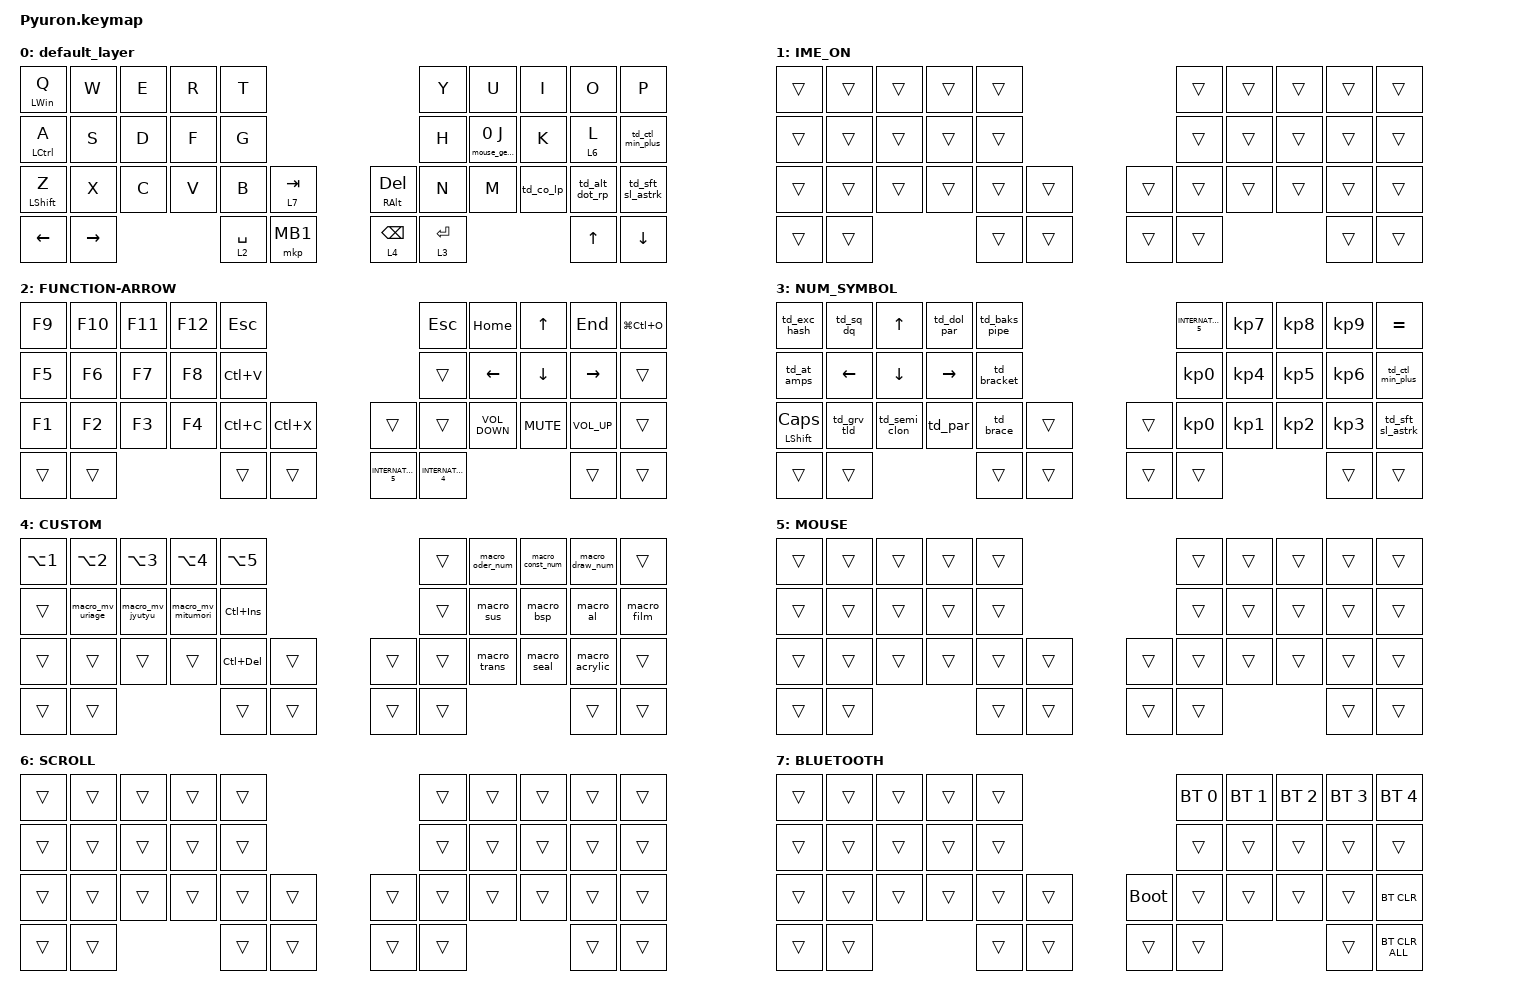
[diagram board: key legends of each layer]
#include <mouse-gesture.dtsi>
#include <behaviors.dtsi>
#include <dt-bindings/zmk/bt.h>
#include <dt-bindings/zmk/keys.h>
#include <dt-bindings/zmk/pointing.h>

#define MOUSE 6

/* mouse-gesture の挙動を補完する設定 */

&mouse_gesture_kp {
    tapping-term-ms = <300>;
    quick-tap-ms = <175>;
    flavor = "tap-preferred";
};

&mt {
    flavor = "balanced";
    quick-tap-ms = <0>;
};

/ {
    combos {
        compatible = "zmk,combos";

        combo_mb1 {
            bindings = <&mkp MB1>;
            key-positions = <16 17>;
        };

        combo_mb2 {
            bindings = <&mkp MB2>;
            key-positions = <17 18>;
        };

        combo_tab {
            bindings = <&kp TAB>;
            key-positions = <13 12>;
        };
    };

    macros {
        to_layer_0: to_layer_0 {
            compatible = "zmk,behavior-macro-one-param";
            #binding-cells = <1>;
            bindings = <&to 0 &macro_param_1to1 &kp MACRO_PLACEHOLDER>;
            label = "TO_LAYER_0";
        };

        alt_grave: alt_grave {
            compatible = "zmk,behavior-macro";
            #binding-cells = <0>;
            wait-ms = <30>;
            tap-ms = <30>;
            bindings =
                <&macro_press>,
                <&kp LALT>,
                <&macro_tap>,
                <&kp GRAVE>,
                <&macro_release>,
                <&kp LALT>;
        };

        // 全角：変換キー + IMEレイヤーへ

        ime_zen: ime_zen {
            compatible = "zmk,behavior-macro";
            #binding-cells = <0>;
            bindings = <&kp INT4 &to 1>;
        };

        // 半角：無変換キー + デフォルトレイヤーへ

        ime_han: ime_han {
            compatible = "zmk,behavior-macro";
            #binding-cells = <0>;
            bindings = <&kp INT5 &to 0>;
        };

        macro_sus: macro_sus {
            compatible = "zmk,behavior-macro";
            #binding-cells = <0>;
            bindings = <&kp INT5 &kp N0 &kp N1 &kp F &kp U &kp N0 &kp N0 &kp N1>;
            label = "MACRO_SUS";
        };

        macro_bsp: macro_bsp {
            compatible = "zmk,behavior-macro";
            #binding-cells = <0>;
            bindings = <&kp INTERNATIONAL_5 &kp N0 &kp N1 &kp F &kp U &kp N0 &kp N0 &kp N2>;
            label = "MACRO_BSP";
        };

        macro_al: macro_al {
            compatible = "zmk,behavior-macro";
            #binding-cells = <0>;
            bindings = <&kp INTERNATIONAL_5 &kp N0 &kp N1 &kp F &kp U &kp N0 &kp N0 &kp N4>;
            label = "MACRO_AL";
        };

        macro_film: macroLfilm {
            compatible = "zmk,behavior-macro";
            #binding-cells = <0>;
            bindings = <&kp INTERNATIONAL_5 &kp N0 &kp N1 &kp F &kp U &kp N0 &kp N0 &kp NUMBER_6>;
            label = "MACROLFILM";
        };

        macro_seal: macro_seal {
            compatible = "zmk,behavior-macro";
            #binding-cells = <0>;
            bindings = <&kp INTERNATIONAL_5 &kp N0 &kp N1 &kp S &kp E &kp N0 &kp N0 &kp N3>;
            label = "MACRO_SEAL";
        };

        macro_acrylic: macro_acrylic {
            compatible = "zmk,behavior-macro";
            #binding-cells = <0>;
            bindings = <&kp INTERNATIONAL_5 &kp N0 &kp N1 &kp A &kp K &kp N0 &kp N0 &kp N1>;
            label = "MACRO_ACRYLIC";
        };

        macro_trans: macro_trans {
            compatible = "zmk,behavior-macro";
            #binding-cells = <0>;
            bindings = <&kp INTERNATIONAL_5 &kp N0 &kp N1 &kp U &kp N &kp N0 &kp N0 &kp N1>;
            label = "MACRO_TRANS";
        };

        macro_mv_uriage: new_macro {
            compatible = "zmk,behavior-macro";
            #binding-cells = <0>;
            bindings = <&kp INTERNATIONAL_5 &kp LA(U) &kp C>;
            label = "NEW_MACRO";
        };

        macro_mv_jyutyu: macro_jyutyu {
            compatible = "zmk,behavior-macro";
            #binding-cells = <0>;
            bindings = <&kp INTERNATIONAL_5 &kp LA(U) &kp B>;
            label = "MACRO_JYUTYU";
        };

        macro_mv_mitumori: macro_mitumori {
            compatible = "zmk,behavior-macro";
            #binding-cells = <0>;
            bindings = <&kp INTERNATIONAL_5 &kp LA(U) &kp A>;
            label = "MACRO_MITUMORI";
        };

        macro_oder_num: macro_oder_num {
            compatible = "zmk,behavior-macro";
            #binding-cells = <0>;
            bindings = <&kp INTERNATIONAL_5 &kp N0 &kp N1 &kp N0 &kp N0 &kp N0 &kp N0 &kp N1>;
            label = "MACRO_ODER_NUM";
        };

        macro_const_num: macro_const_num {
            compatible = "zmk,behavior-macro";
            #binding-cells = <0>;
            bindings = <&kp INTERNATIONAL_5 &kp N0 &kp N1 &kp N0 &kp N0 &kp N0 &kp N0 &kp N2>;
            label = "MACRO_CONST_NUM";
        };

        macro_draw_num: macro_draw_num {
            compatible = "zmk,behavior-macro";
            #binding-cells = <0>;
            bindings = <&kp INTERNATIONAL_5 &kp N0 &kp N1 &kp N0 &kp N0 &kp N0 &kp N0 &kp N7>;
            label = "MACRO_DRAW_NUM";
        };
    };

    lt_to_layer_0: lt_to_layer_0 {
        compatible = "zmk,behavior-hold-tap";
        label = "LAYER_TAP_TO_0";
        bindings = <&mo>, <&to_layer_0>;

        #binding-cells = <2>;
        tapping-term-ms = <200>;
    };
};

/ {
    behaviors {
        dot_arrow: dot_arrow {
            compatible = "zmk,behavior-hold-tap";
            #binding-cells = <2>;
            flavor = "hold-preferred";
            tapping-term-ms = <200>;
            bindings = <&mo>, <&kp>;
        };

        // シングルタップと長押しを設定

        hold_stap: hold_single_tap {
            compatible = "zmk,behavior-hold-tap";
            label = "HOLD_SINGLE_TAP";
            #binding-cells = <2>;
            flavor = "balanced";
            tapping-term-ms = <150>;
            bindings = <&kp>, <&kp>;
        };

        // シングルタップでint5、ダブルタップでint4、長押しで左alt

        td_alt_int5_4: tap_dance_alt_int5_int4 {
            compatible = "zmk,behavior-tap-dance";
            label = "TD_ALT_INT5_INT4";
            #binding-cells = <0>;
            tapping-term-ms = <200>;
            bindings = <&hold_stap LALT INT5>, <&kp INT4>;
        };

        // シングルタップでマイナス、ダブルタップでプラス、長押しで右ctrl

        td_ctl_min_plus: tap_dance_ctrl_minus_plus {
            compatible = "zmk,behavior-tap-dance";
            label = "TD_CTL_MINUS_PLUS";
            #binding-cells = <0>;
            tapping-term-ms = <150>;
            bindings = <&hold_stap RCTRL MINUS>, <&kp PLUS>;
        };

        // シングルタップでスラッシュ、ダブルタップでアスタリスク、長押しで右shift

        td_sft_sl_astrk: tap_dance_shift_slash_asterisk {
            compatible = "zmk,behavior-tap-dance";
            label = "TD_SHT_SL_ASTRK";
            #binding-cells = <0>;
            tapping-term-ms = <150>;
            bindings = <&hold_stap RSHIFT SLASH>, <&kp ASTRK>;
        };

        // シングルタップでドット、ダブルタップで括弧閉じ、長押しで右alt

        td_alt_dot_rp: tap_dance_alt_dot_rightpar {
            compatible = "zmk,behavior-tap-dance";
            label = "TD_ALT_DOT_RPAR";
            #binding-cells = <0>;
            tapping-term-ms = <150>;
            bindings = <&hold_stap RALT DOT>, <&kp RPAR>;
        };

        td_co_lp: tap_dance_comma_leftpar {
            compatible = "zmk,behavior-tap-dance";
            label = "TD_COMMA_LPAR";
            #binding-cells = <0>;
            tapping-term-ms = <200>;
            bindings = <&kp COMMA>, <&kp LPAR>;
        };

        td_sq_dq: tap_dance_singlequote_doublequote {
            compatible = "zmk,behavior-tap-dance";
            label = "TD_SQ_DQ";
            #binding-cells = <0>;
            tapping-term-ms = <200>;
            bindings = <&kp SINGLE_QUOTE>, <&kp DOUBLE_QUOTES>;
        };

        td_bracket: tap_dance_bracket {
            compatible = "zmk,behavior-tap-dance";
            label = "TD_BRACKET";
            #binding-cells = <0>;
            tapping-term-ms = <200>;
            bindings = <&kp LEFT_BRACKET>, <&kp RIGHT_BRACKET>;
        };

        td_par: tap_dance_par {
            compatible = "zmk,behavior-tap-dance";
            label = "TD_PAR";
            #binding-cells = <0>;
            tapping-term-ms = <200>;
            bindings = <&kp LPAR>, <&kp RPAR>;
        };

        td_brace: tap_dance_brace {
            compatible = "zmk,behavior-tap-dance";
            label = "TD_BRACE";
            #binding-cells = <0>;
            tapping-term-ms = <200>;
            bindings = <&kp LEFT_BRACE>, <&kp RIGHT_BRACE>;
        };

        td_exc_hash: tap_exclametion_hash {
            compatible = "zmk,behavior-tap-dance";
            label = "TD_EXC_HASHE";
            #binding-cells = <0>;
            tapping-term-ms = <200>;
            bindings = <&kp EXCLAMATION>, <&kp HASH>;
        };

        td_at_amps: tap_at_amps {
            compatible = "zmk,behavior-tap-dance";
            label = "TD_AT_AMPS";
            #binding-cells = <0>;
            tapping-term-ms = <200>;
            bindings = <&kp AT>, <&kp AMPS>;
        };

        td_dol_par: tap_dollar_parcent {
            compatible = "zmk,behavior-tap-dance";
            label = "TD_DOL_PAR";
            #binding-cells = <0>;
            tapping-term-ms = <200>;
            bindings = <&kp DOLLAR>, <&kp PERCENT>;
        };

        td_semi_clon: tap_semicolon_colon {
            compatible = "zmk,behavior-tap-dance";
            label = "TD_SEMI_CLON";
            #binding-cells = <0>;
            tapping-term-ms = <200>;
            bindings = <&kp SEMICOLON>, <&kp COLON>;
        };

        td_grv_tld: tap_grave_tilde {
            compatible = "zmk,behavior-tap-dance";
            label = "TD_GRV_TLD";
            #binding-cells = <0>;
            tapping-term-ms = <200>;
            bindings = <&kp GRAVE>, <&kp TILDE>;
        };

        td_baks_pipe: tap_backslash_pipe {
            compatible = "zmk,behavior-tap-dance";
            label = "TD_BAKS_PIPE";
            #binding-cells = <0>;
            tapping-term-ms = <200>;
            bindings = <&kp BACKSLASH>, <&kp PIPE>;
        };

        hm: homerow_mods {
            compatible = "zmk,behavior-hold-tap";
            #binding-cells = <2>;
            tapping-term-ms = <150>;    // 500msから200ms程度に下げると快適です
            quick-tap-ms = <150>;       // 素早い連打を「タップ」として固定
            flavor = "tap-preferred";   // 迷ったら「タップ」を優先する設定
            bindings = <&kp>, <&kp>;
        };
    };

    keymap {
        compatible = "zmk,keymap";

        default_layer {
            bindings = <
&mt LWIN Q        &kp W             &kp E           &kp R            &kp T        &kp Y      &kp U                  &kp I        &kp O         &kp P
&hm LCTRL A       &kp S             &kp D           &kp F            &kp G        &kp H      &mouse_gesture_kp 0 J  &kp K        &lt 6 L       &td_ctl_min_plus
&hm LEFT_SHIFT Z  &kp X             &kp C           &kp V            &kp B        &lt 7 TAB  &mt RIGHT_ALT DELETE   &kp N        &kp M         &td_co_lp
&td_alt_dot_rp    &td_sft_sl_astrk  &kp LEFT_ARROW  &kp RIGHT_ARROW  &lt 2 SPACE  &mkp MB1   &lt 4 BACKSPACE        &lt 3 ENTER  &kp UP_ARROW  &kp DOWN_ARROW
            >;
        };

        IME_ON {
            bindings = <
&trans  &trans  &trans  &trans  &trans  &trans  &trans  &trans  &trans  &trans
&trans  &trans  &trans  &trans  &trans  &trans  &trans  &trans  &trans  &trans
&trans  &trans  &trans  &trans  &trans  &trans  &trans  &trans  &trans  &trans
&trans  &trans  &trans  &trans  &trans  &trans  &trans  &trans  &trans  &trans
            >;
        };

        FUNCTION-ARROW {
            bindings = <
&kp F9           &kp F10  &kp F11  &kp F12  &kp ESCAPE  &kp ESCAPE  &kp HOME             &kp UP_ARROW         &kp END            &kp LG(LC(O))
&kp F5           &kp F6   &kp F7   &kp F8   &kp LC(V)   &trans      &kp LEFT_ARROW       &kp DOWN_ARROW       &kp RIGHT_ARROW    &trans
&kp F1           &kp F2   &kp F3   &kp F4   &kp LC(C)   &kp LC(X)   &trans               &trans               &kp C_VOLUME_DOWN  &kp K_MUTE
&kp C_VOLUME_UP  &trans   &trans   &trans   &trans      &trans      &kp INTERNATIONAL_5  &kp INTERNATIONAL_4  &trans             &trans
            >;
        };

        NUM_SYMBOL {
            bindings = <
&td_exc_hash             &td_sq_dq         &kp UP_ARROW    &td_dol_par      &td_baks_pipe  &kp INTERNATIONAL_5  &kp KP_NUMBER_7  &kp KP_NUMBER_8  &kp KP_NUMBER_9  &kp EQUAL
&td_at_amps              &kp LEFT_ARROW    &kp DOWN_ARROW  &kp RIGHT_ARROW  &td_bracket    &kp KP_NUMBER_0      &kp KP_NUMBER_4  &kp KP_NUMBER_5  &kp KP_NUMBER_6  &td_ctl_min_plus
&mt LEFT_SHIFT CAPSLOCK  &td_grv_tld       &td_semi_clon   &td_par          &td_brace      &trans               &trans           &kp KP_NUMBER_0  &kp KP_NUMBER_1  &kp KP_NUMBER_2
&kp KP_NUMBER_3          &td_sft_sl_astrk  &trans          &trans           &trans         &trans               &trans           &trans           &trans           &trans
            >;
        };

        CUSTOM {
            bindings = <
&kp LA(NUMBER_1)  &kp LA(NUMBER_2)  &kp LA(NUMBER_3)  &kp LA(NUMBER_4)    &kp LA(NUMBER_5)  &trans  &macro_oder_num  &macro_const_num  &macro_draw_num  &trans
&trans            &macro_mv_uriage  &macro_mv_jyutyu  &macro_mv_mitumori  &kp LC(INS)       &trans  &macro_sus       &macro_bsp        &macro_al        &macro_film
&trans            &trans            &trans            &trans              &kp LC(DELETE)    &trans  &trans           &trans            &macro_trans     &macro_seal
&macro_acrylic    &trans            &trans            &trans              &trans            &trans  &trans           &trans            &trans           &trans
            >;
        };

        MOUSE {
            bindings = <
&trans  &trans  &trans  &trans  &trans  &trans  &trans  &trans  &trans  &trans
&trans  &trans  &trans  &trans  &trans  &trans  &trans  &trans  &trans  &trans
&trans  &trans  &trans  &trans  &trans  &trans  &trans  &trans  &trans  &trans
&trans  &trans  &trans  &trans  &trans  &trans  &trans  &trans  &trans  &trans
            >;
        };

        SCROLL {
            bindings = <
&trans  &trans  &trans  &trans  &trans  &trans  &trans  &trans  &trans  &trans
&trans  &trans  &trans  &trans  &trans  &trans  &trans  &trans  &trans  &trans
&trans  &trans  &trans  &trans  &trans  &trans  &trans  &trans  &trans  &trans
&trans  &trans  &trans  &trans  &trans  &trans  &trans  &trans  &trans  &trans
            >;
        };

        BLUETOOTH {
            bindings = <
&trans  &trans      &trans  &trans  &trans  &bt BT_SEL 0  &bt BT_SEL 1  &bt BT_SEL 2  &bt BT_SEL 3  &bt BT_SEL 4
&trans  &trans      &trans  &trans  &trans  &trans        &trans        &trans        &trans        &trans
&trans  &trans      &trans  &trans  &trans  &trans        &bootloader   &trans        &trans        &trans
&trans  &bt BT_CLR  &trans  &trans  &trans  &trans        &trans        &trans        &trans        &bt BT_CLR_ALL
            >;
        };
    };
};
